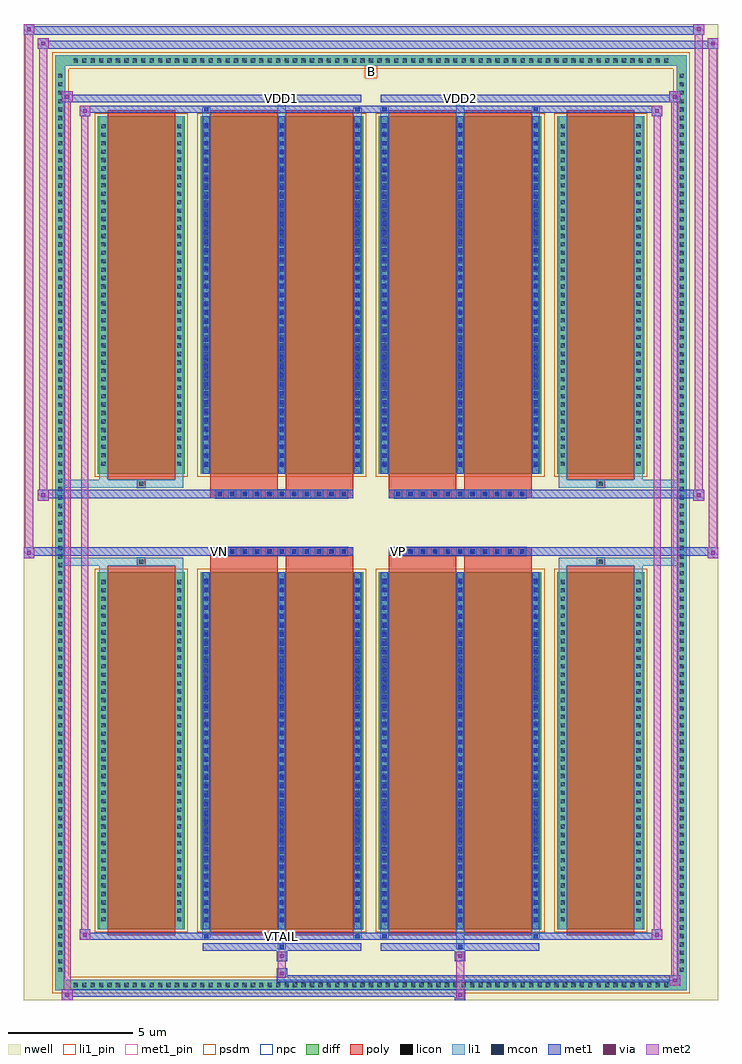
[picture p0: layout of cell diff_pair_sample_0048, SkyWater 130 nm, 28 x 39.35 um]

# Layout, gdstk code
import gdstk
lib = gdstk.Library(unit=1e-6, precision=5e-09)
def R(c, l, rs):  # rectangles x0, y0, x1, y1
    for r in rs: c.add(gdstk.rectangle(r[:2], r[2:], *l))
def A(c, l, x, y, w, h, nx, ny, dx, dy):  # array of equal rectangles
    R(c, l, [(x+i*dx, y+j*dy, x+i*dx+w, y+j*dy+h) for i in range(nx) for j in range(ny)])
def P(c, l, *ps):  # polygons
    for p in ps: c.add(gdstk.Polygon(p, *l))
nwell = (64, 20)
diff = (65, 20)
poly = (66, 20)
licon = (66, 44)
li1_pin = (67, 16)
li1 = (67, 20)
mcon = (67, 44)
met1_pin = (68, 16)
met1 = (68, 20)
via = (68, 44)
met2 = (69, 20)
psdm = (94, 20)
npc = (95, 20)

diff_pair_sample_0048 = lib.new_cell('diff_pair_sample_0048')
R(diff_pair_sample_0048, nwell, [(-14,-19.24,14,20.11), (-11.32,-17.43,-0.01,-0.795), (0.01,-17.43,11.32,-0.795), (-11.32,0.795,-0.01,17.43), (0.01,0.795,11.32,17.43)])
A(diff_pair_sample_0048, diff, -12.105, -18.84, 0.41, 0.41, 71, 2, 0.34, 37.27)
A(diff_pair_sample_0048, diff, -12.73, -18.225, 0.41, 0.41, 1, 107, 0, 0.34)
A(diff_pair_sample_0048, diff, 12.32, -18.225, 0.41, 0.41, 1, 107, 0, 0.34)
R(diff_pair_sample_0048, diff, [(-12.105,-18.84,12.105,-18.43), (-12.73,-18.225,-12.32,18.225), (12.32,-18.225,12.73,18.225), (-11.01,-16.385,-7.51,-1.985), (-6.87,-16.385,-0.32,-1.985), (0.32,-16.385,6.87,-1.985), (7.51,-16.385,11.01,-1.985), (-11.01,1.985,-7.51,16.385), (-6.87,1.985,-0.32,16.385), (0.32,1.985,6.87,16.385), (7.51,1.985,11.01,16.385), (-12.105,18.43,12.105,18.84)])
P(diff_pair_sample_0048, diff, [(12.73,18.84),(-12.73,18.84),(-12.73,-18.43),(-12.32,-18.43),(-12.32,18.43),(12.32,18.43),(12.32,-18.43),(-12.32,-18.43),(-12.73,-18.43),(-12.73,-18.84),(12.73,-18.84)])
A(diff_pair_sample_0048, poly, -6.26, -1.325, 0.33, 0.33, 11, 2, 0.5, 2.32)
A(diff_pair_sample_0048, poly, 0.93, -1.325, 0.33, 0.33, 11, 2, 0.5, 2.32)
R(diff_pair_sample_0048, poly, [(-10.62,-16.635,-7.9,-1.735), (-6.48,-16.635,-3.76,-1.735), (-3.43,-16.635,-0.71,-1.735), (0.71,-16.635,3.43,-1.735), (3.76,-16.635,6.48,-1.735), (7.9,-16.635,10.62,-1.735), (-9.425,-1.735,-9.095,-1.405), (-9.425,-1.735,-9.095,-1.405), (-6.48,-1.735,-3.76,-1.325), (-3.43,-1.735,-0.71,-1.325), (0.71,-1.735,3.43,-1.325), (3.76,-1.735,6.48,-1.325), (9.095,-1.735,9.425,-1.405), (9.095,-1.735,9.425,-1.405), (-6.48,-1.325,-0.71,-0.995), (0.71,-1.325,6.48,-0.995), (-6.48,0.995,-0.71,1.325), (0.71,0.995,6.48,1.325), (-6.48,1.325,-3.76,1.735), (-3.43,1.325,-0.71,1.735), (0.71,1.325,3.43,1.735), (3.76,1.325,6.48,1.735), (-9.425,1.405,-9.095,1.735), (-9.425,1.405,-9.095,1.735), (9.095,1.405,9.425,1.735), (9.095,1.405,9.425,1.735), (-10.62,1.735,-7.9,16.635), (-6.48,1.735,-3.76,16.635), (-3.43,1.735,-0.71,16.635), (0.71,1.735,3.43,16.635), (3.76,1.735,6.48,16.635), (7.9,1.735,10.62,16.635)])
A(diff_pair_sample_0048, licon, -11.985, -18.72, 0.17, 0.17, 71, 2, 0.34, 37.27)
A(diff_pair_sample_0048, licon, -12.61, -18.105, 0.17, 0.17, 1, 107, 0, 0.34)
A(diff_pair_sample_0048, licon, 12.44, -18.105, 0.17, 0.17, 1, 107, 0, 0.34)
A(diff_pair_sample_0048, licon, -10.87, -16.07, 0.17, 0.17, 1, 41, 0, 0.34)
A(diff_pair_sample_0048, licon, -7.82, -16.07, 0.17, 0.17, 1, 41, 0, 0.34)
A(diff_pair_sample_0048, licon, -6.73, -16.07, 0.17, 0.17, 3, 41, 3.05, 0.34)
A(diff_pair_sample_0048, licon, 0.46, -16.07, 0.17, 0.17, 3, 41, 3.05, 0.34)
A(diff_pair_sample_0048, licon, 7.65, -16.07, 0.17, 0.17, 1, 41, 0, 0.34)
A(diff_pair_sample_0048, licon, 10.7, -16.07, 0.17, 0.17, 1, 41, 0, 0.34)
A(diff_pair_sample_0048, licon, -6.18, -1.245, 0.17, 0.17, 11, 2, 0.5, 2.32)
A(diff_pair_sample_0048, licon, 1.01, -1.245, 0.17, 0.17, 11, 2, 0.5, 2.32)
A(diff_pair_sample_0048, licon, -10.87, 2.3, 0.17, 0.17, 1, 41, 0, 0.34)
A(diff_pair_sample_0048, licon, -7.82, 2.3, 0.17, 0.17, 1, 41, 0, 0.34)
A(diff_pair_sample_0048, licon, -6.73, 2.3, 0.17, 0.17, 3, 41, 3.05, 0.34)
A(diff_pair_sample_0048, licon, 0.46, 2.3, 0.17, 0.17, 3, 41, 3.05, 0.34)
A(diff_pair_sample_0048, licon, 7.65, 2.3, 0.17, 0.17, 1, 41, 0, 0.34)
A(diff_pair_sample_0048, licon, 10.7, 2.3, 0.17, 0.17, 1, 41, 0, 0.34)
R(diff_pair_sample_0048, licon, [(-9.345,-1.655,-9.175,-1.485), (9.175,-1.655,9.345,-1.485), (-9.345,1.485,-9.175,1.655), (9.175,1.485,9.345,1.655)])
R(diff_pair_sample_0048, li1_pin, [(-0.25,17.93,0.25,18.43)])
A(diff_pair_sample_0048, li1, -12.065, -18.8, 0.33, 0.33, 71, 2, 0.34, 37.27)
A(diff_pair_sample_0048, li1, -12.69, -18.185, 0.33, 0.33, 1, 107, 0, 0.34)
A(diff_pair_sample_0048, li1, 12.36, -18.185, 0.33, 0.33, 1, 107, 0, 0.34)
A(diff_pair_sample_0048, li1, -6.81, -16.385, 0.33, 14.4, 3, 2, 3.05, 18.37)
A(diff_pair_sample_0048, li1, 0.38, -16.385, 0.33, 14.4, 3, 2, 3.05, 18.37)
A(diff_pair_sample_0048, li1, -10.95, -16.15, 0.33, 0.33, 1, 41, 0, 0.34)
A(diff_pair_sample_0048, li1, -7.9, -16.15, 0.33, 0.33, 1, 41, 0, 0.34)
A(diff_pair_sample_0048, li1, -6.81, -16.15, 0.33, 0.33, 3, 41, 3.05, 0.34)
A(diff_pair_sample_0048, li1, 0.38, -16.15, 0.33, 0.33, 3, 41, 3.05, 0.34)
A(diff_pair_sample_0048, li1, 7.57, -16.15, 0.33, 0.33, 1, 41, 0, 0.34)
A(diff_pair_sample_0048, li1, 10.62, -16.15, 0.33, 0.33, 1, 41, 0, 0.34)
A(diff_pair_sample_0048, li1, -6.73, -16.11, 0.17, 0.17, 3, 39, 3.05, 0.36)
A(diff_pair_sample_0048, li1, -6.73, -16.11, 0.17, 13.85, 3, 2, 3.05, 18.37)
A(diff_pair_sample_0048, li1, 0.46, -16.11, 0.17, 0.17, 3, 39, 3.05, 0.36)
A(diff_pair_sample_0048, li1, 0.46, -16.11, 0.17, 13.85, 3, 2, 3.05, 18.37)
A(diff_pair_sample_0048, li1, -6.26, -1.325, 0.33, 0.33, 11, 2, 0.5, 2.32)
A(diff_pair_sample_0048, li1, 0.93, -1.325, 0.33, 0.33, 11, 2, 0.5, 2.32)
A(diff_pair_sample_0048, li1, -10.95, 2.22, 0.33, 0.33, 1, 41, 0, 0.34)
A(diff_pair_sample_0048, li1, -7.9, 2.22, 0.33, 0.33, 1, 41, 0, 0.34)
A(diff_pair_sample_0048, li1, -6.81, 2.22, 0.33, 0.33, 3, 41, 3.05, 0.34)
A(diff_pair_sample_0048, li1, 0.38, 2.22, 0.33, 0.33, 3, 41, 3.05, 0.34)
A(diff_pair_sample_0048, li1, 7.57, 2.22, 0.33, 0.33, 1, 41, 0, 0.34)
A(diff_pair_sample_0048, li1, 10.62, 2.22, 0.33, 0.33, 1, 41, 0, 0.34)
A(diff_pair_sample_0048, li1, -6.73, 2.26, 0.17, 0.17, 3, 39, 3.05, 0.36)
A(diff_pair_sample_0048, li1, 0.46, 2.26, 0.17, 0.17, 3, 39, 3.05, 0.36)
R(diff_pair_sample_0048, li1, [(-12.73,-18.84,-12.32,-18.43), (-12.73,-18.84,-12.32,-18.43), (-12.32,-18.84,12.32,-18.43), (12.32,-18.84,12.73,-18.43), (12.32,-18.84,12.73,-18.43), (-12.73,-18.43,-12.32,18.43), (12.32,-18.43,12.73,18.43), (-3.76,-17.19,-3.43,-16.385), (-3.68,-17.19,-3.51,-17.02), (3.43,-17.19,3.76,-16.385), (3.51,-17.19,3.68,-17.02), (-6.81,-16.76,-6.48,-16.385), (-6.73,-16.76,-6.56,-16.59), (-0.71,-16.76,-0.38,-16.385), (-0.63,-16.76,-0.46,-16.59), (0.38,-16.76,0.71,-16.385), (0.46,-16.76,0.63,-16.59), (6.48,-16.76,6.81,-16.385), (6.56,-16.76,6.73,-16.59), (-10.95,-16.385,-10.62,-1.985), (-7.9,-16.385,-7.57,-1.985), (7.57,-16.385,7.9,-1.985), (10.62,-16.385,10.95,-1.985), (-10.95,-1.985,-10.62,-1.405), (-7.9,-1.985,-7.57,-1.405), (7.57,-1.985,7.9,-1.405), (10.62,-1.985,10.95,-1.405), (-12.73,-1.735,-9.425,-1.405), (-10.95,-1.735,-9.425,-1.405), (-9.425,-1.735,-9.095,-1.405), (-9.095,-1.735,-7.57,-1.405), (7.57,-1.735,9.095,-1.405), (9.095,-1.735,9.425,-1.405), (9.095,-1.735,12.73,-1.405), (9.425,-1.735,10.95,-1.405), (-12.73,1.405,-9.425,1.735), (-10.95,1.405,-9.425,1.735), (-10.95,1.405,-10.62,1.985), (-9.425,1.405,-9.095,1.735), (-9.095,1.405,-7.57,1.735), (-7.9,1.405,-7.57,1.985), (7.57,1.405,9.095,1.735), (7.57,1.405,7.9,1.985), (9.095,1.405,9.425,1.735), (9.095,1.405,12.73,1.735), (9.425,1.405,10.95,1.735), (10.62,1.405,10.95,1.985), (-10.95,1.985,-10.62,16.385), (-7.9,1.985,-7.57,16.385), (7.57,1.985,7.9,16.385), (10.62,1.985,10.95,16.385), (-6.81,16.385,-6.48,16.76), (-3.76,16.385,-3.43,17.19), (-0.71,16.385,-0.38,16.76), (0.38,16.385,0.71,16.76), (3.43,16.385,3.76,17.19), (6.48,16.385,6.81,16.76), (-6.73,16.59,-6.56,16.76), (-0.63,16.59,-0.46,16.76), (0.46,16.59,0.63,16.76), (6.56,16.59,6.73,16.76), (-3.68,17.02,-3.51,17.19), (3.51,17.02,3.68,17.19), (-12.73,18.43,-12.32,18.84), (-12.73,18.43,-12.32,18.84), (-12.32,18.43,12.32,18.84), (12.32,18.43,12.73,18.84), (12.32,18.43,12.73,18.84)])
A(diff_pair_sample_0048, mcon, -6.73, -16.11, 0.17, 0.17, 3, 39, 3.05, 0.36)
A(diff_pair_sample_0048, mcon, 0.46, -16.11, 0.17, 0.17, 3, 39, 3.05, 0.36)
A(diff_pair_sample_0048, mcon, -6.18, -1.245, 0.17, 0.17, 11, 2, 0.5, 2.32)
A(diff_pair_sample_0048, mcon, 1.01, -1.245, 0.17, 0.17, 11, 2, 0.5, 2.32)
A(diff_pair_sample_0048, mcon, -6.73, 2.26, 0.17, 0.17, 3, 39, 3.05, 0.36)
A(diff_pair_sample_0048, mcon, 0.46, 2.26, 0.17, 0.17, 3, 39, 3.05, 0.36)
R(diff_pair_sample_0048, mcon, [(-3.68,-17.19,-3.51,-17.02), (3.51,-17.19,3.68,-17.02), (-6.73,-16.76,-6.56,-16.59), (-0.63,-16.76,-0.46,-16.59), (0.46,-16.76,0.63,-16.59), (6.56,-16.76,6.73,-16.59), (-6.73,16.59,-6.56,16.76), (-0.63,16.59,-0.46,16.76), (0.46,16.59,0.63,16.76), (6.56,16.59,6.73,16.76), (-3.68,17.02,-3.51,17.19), (3.51,17.02,3.68,17.19)])
R(diff_pair_sample_0048, met1_pin, [(-3.73,-16.8,-3.46,-16.53), (-6.23,-1.285,-5.96,-1.015), (0.96,-1.285,1.23,-1.015), (-3.73,16.98,-3.46,17.25), (3.46,16.98,3.73,17.25)])
A(diff_pair_sample_0048, met1, -6.79, -16.385, 0.29, 14.4, 3, 2, 3.05, 18.37)
A(diff_pair_sample_0048, met1, 0.4, -16.385, 0.29, 14.4, 3, 2, 3.05, 18.37)
A(diff_pair_sample_0048, met1, -6.79, -16.17, 0.29, 0.29, 3, 39, 3.05, 0.36)
A(diff_pair_sample_0048, met1, 0.4, -16.17, 0.29, 0.29, 3, 39, 3.05, 0.36)
A(diff_pair_sample_0048, met1, -6.24, -1.305, 0.29, 0.29, 11, 2, 0.5, 2.32)
A(diff_pair_sample_0048, met1, 0.95, -1.305, 0.29, 0.29, 11, 2, 0.5, 2.32)
A(diff_pair_sample_0048, met1, -6.79, 2.2, 0.29, 0.29, 3, 39, 3.05, 0.36)
A(diff_pair_sample_0048, met1, 0.4, 2.2, 0.29, 0.29, 3, 39, 3.05, 0.36)
R(diff_pair_sample_0048, met1, [(-12.46,-19.24,-12.03,-18.81), (3.38,-19.24,3.81,-18.81), (-12.46,-19.1,3.81,-18.81), (12.03,-18.67,12.46,-18.24), (-3.81,-18.53,12.46,-18.24), (-3.81,-18.39,-3.38,-17.96), (-3.81,-17.68,-3.38,-17.25), (3.38,-17.68,3.81,-17.25), (-6.79,-17.25,-0.4,-16.96), (-3.74,-17.25,-3.45,-16.96), (0.4,-17.25,6.79,-16.96), (3.45,-17.25,3.74,-16.96), (-11.75,-16.82,-11.32,-16.39), (-11.75,-16.82,-6.79,-16.53), (-6.79,-16.82,-6.5,-16.53), (-6.79,-16.82,-0.4,-16.53), (-0.69,-16.82,-0.4,-16.53), (-0.4,-16.82,0.4,-16.53), (0.4,-16.82,0.69,-16.53), (0.4,-16.82,6.79,-16.53), (6.5,-16.82,6.79,-16.53), (6.79,-16.82,11.75,-16.53), (11.32,-16.82,11.75,-16.39), (-14,-1.425,-13.57,-0.995), (13.57,-1.425,14,-0.995), (-14,-1.325,-0.71,-0.995), (-6.48,-1.325,-0.71,-0.995), (0.71,-1.325,6.48,-0.995), (0.71,-1.325,14,-0.995), (-13.43,0.895,-13,1.325), (13,0.895,13.43,1.325), (-13.43,0.995,-6.48,1.325), (-6.48,0.995,-0.71,1.325), (0.71,0.995,6.48,1.325), (6.48,0.995,13.43,1.325), (-11.75,16.39,-11.32,16.82), (11.32,16.39,11.75,16.82), (-11.75,16.53,-6.79,16.82), (-6.79,16.53,-6.5,16.82), (-6.79,16.53,-0.4,16.82), (-0.69,16.53,-0.4,16.82), (-0.4,16.53,0.4,16.82), (0.4,16.53,0.69,16.82), (0.4,16.53,6.79,16.82), (6.5,16.53,6.79,16.82), (6.79,16.53,11.75,16.82), (-12.46,16.96,-12.03,17.39), (-12.46,16.96,-6.79,17.25), (-6.79,16.96,-0.4,17.25), (-3.74,16.96,-3.45,17.25), (0.4,16.96,6.79,17.25), (3.45,16.96,3.74,17.25), (6.79,16.96,12.46,17.25), (12.03,16.96,12.46,17.39), (-13.43,19.11,-13,19.54), (-13.43,19.11,-11.32,19.44), (-11.32,19.11,11.32,19.44), (11.32,19.11,14,19.44), (13.57,19.11,14,19.54), (-14,19.68,-13.57,20.11), (-14,19.68,-11.32,20.01), (-11.32,19.68,11.32,20.01), (11.32,19.68,13.43,20.01), (13,19.68,13.43,20.11)])
R(diff_pair_sample_0048, via, [(-12.32,-19.1,-12.17,-18.95), (3.52,-19.1,3.67,-18.95), (12.17,-18.53,12.32,-18.38), (-3.67,-18.25,-3.52,-18.1), (-3.67,-17.54,-3.52,-17.39), (3.52,-17.54,3.67,-17.39), (-11.61,-16.68,-11.46,-16.53), (11.46,-16.68,11.61,-16.53), (-13.86,-1.285,-13.71,-1.135), (13.71,-1.285,13.86,-1.135), (-13.29,1.035,-13.14,1.185), (13.14,1.035,13.29,1.185), (-11.61,16.53,-11.46,16.68), (11.46,16.53,11.61,16.68), (-12.32,17.1,-12.17,17.25), (12.17,17.1,12.32,17.25), (-13.29,19.25,-13.14,19.4), (13.71,19.25,13.86,19.4), (-13.86,19.82,-13.71,19.97), (13.14,19.82,13.29,19.97)])
R(diff_pair_sample_0048, met2, [(-12.46,-19.24,-12.03,-18.81), (-12.39,-19.24,-12.1,17.39), (-12.1,-19.24,-12.03,-18.81), (-12.41,-19.19,-12.08,-18.86), (3.43,-19.19,3.76,-18.86), (3.43,-18.86,3.76,-17.63), (12.03,-18.67,12.46,-18.24), (12.1,-18.67,12.39,17.39), (12.39,-18.67,12.46,-18.24), (12.08,-18.62,12.41,-18.29), (-3.76,-18.34,-3.43,-18.01), (-3.76,-18.01,-3.43,-17.63), (-3.76,-17.63,-3.43,-17.3), (3.43,-17.63,3.76,-17.3), (-11.75,-16.82,-11.32,-16.39), (-11.68,-16.82,-11.39,16.82), (-11.39,-16.82,-11.32,-16.39), (11.32,-16.82,11.75,-16.39), (11.39,-16.82,11.68,16.82), (11.68,-16.82,11.75,-16.39), (-11.7,-16.77,-11.37,-16.44), (11.37,-16.77,11.7,-16.44), (-14,-1.425,-13.57,-0.995), (-13.95,-1.425,-13.62,20.11), (-13.62,-1.425,-13.57,-0.995), (13.57,-1.425,14,-0.995), (13.62,-1.425,13.95,19.54), (13.95,-1.425,14,-0.995), (-13.95,-1.375,-13.62,-1.045), (13.62,-1.375,13.95,-1.045), (-13.43,0.895,-13,1.325), (-13.38,0.895,-13.05,19.54), (-13.05,0.895,-13,1.325), (13,0.895,13.43,1.325), (13.05,0.895,13.38,20.11), (13.38,0.895,13.43,1.325), (-13.38,0.945,-13.05,1.275), (13.05,0.945,13.38,1.275), (-11.75,16.39,-11.32,16.82), (-11.39,16.39,-11.32,16.82), (11.32,16.39,11.75,16.82), (11.68,16.39,11.75,16.82), (-11.7,16.44,-11.37,16.77), (11.37,16.44,11.7,16.77), (-12.46,16.96,-12.03,17.39), (-12.1,16.96,-12.03,17.39), (12.03,16.96,12.46,17.39), (12.39,16.96,12.46,17.39), (-12.41,17.01,-12.08,17.34), (12.08,17.01,12.41,17.34), (-13.43,19.11,-13,19.54), (-13.05,19.11,-13,19.54), (13.57,19.11,14,19.54), (13.95,19.11,14,19.54), (-13.38,19.16,-13.05,19.49), (13.62,19.16,13.95,19.49), (-14,19.68,-13.57,20.11), (-13.62,19.68,-13.57,20.11), (13,19.68,13.43,20.11), (13.38,19.68,13.43,20.11), (-13.95,19.73,-13.62,20.06), (13.05,19.73,13.38,20.06)])
R(diff_pair_sample_0048, psdm, [(-11.14,-16.515,-7.38,-1.855), (-7,-16.515,-0.19,-1.855), (0.19,-16.515,7,-1.855), (7.38,-16.515,11.14,-1.855), (-11.14,1.855,-7.38,16.515), (-7,1.855,-0.19,16.515), (0.19,1.855,7,16.515), (7.38,1.855,11.14,16.515)])
P(diff_pair_sample_0048, psdm, [(12.86,18.97),(-12.86,18.97),(-12.86,-18.3),(-12.19,-18.3),(-12.19,18.3),(12.19,18.3),(12.19,-18.3),(-12.19,-18.3),(-12.86,-18.3),(-12.86,-18.97),(12.86,-18.97)])
A(diff_pair_sample_0048, npc, -6.28, -1.345, 0.37, 0.37, 11, 2, 0.5, 2.32)
A(diff_pair_sample_0048, npc, 0.91, -1.345, 0.37, 0.37, 11, 2, 0.5, 2.32)
R(diff_pair_sample_0048, npc, [(-9.445,-1.755,-9.075,-1.385), (9.075,-1.755,9.445,-1.385), (-6.28,-1.345,-5.41,-0.975), (-6.28,-1.345,-5.41,-0.975), (-5.78,-1.345,-4.91,-0.975), (-5.78,-1.345,-4.91,-0.975), (-5.28,-1.345,-4.41,-0.975), (-5.28,-1.345,-4.41,-0.975), (-4.78,-1.345,-3.91,-0.975), (-4.78,-1.345,-3.91,-0.975), (-4.28,-1.345,-3.41,-0.975), (-4.28,-1.345,-3.41,-0.975), (-3.78,-1.345,-2.91,-0.975), (-3.78,-1.345,-2.91,-0.975), (-3.28,-1.345,-2.41,-0.975), (-3.28,-1.345,-2.41,-0.975), (-2.78,-1.345,-1.91,-0.975), (-2.78,-1.345,-1.91,-0.975), (-2.28,-1.345,-1.41,-0.975), (-2.28,-1.345,-1.41,-0.975), (-1.78,-1.345,-0.91,-0.975), (-1.78,-1.345,-0.91,-0.975), (0.91,-1.345,1.78,-0.975), (0.91,-1.345,1.78,-0.975), (1.41,-1.345,2.28,-0.975), (1.41,-1.345,2.28,-0.975), (1.91,-1.345,2.78,-0.975), (1.91,-1.345,2.78,-0.975), (2.41,-1.345,3.28,-0.975), (2.41,-1.345,3.28,-0.975), (2.91,-1.345,3.78,-0.975), (2.91,-1.345,3.78,-0.975), (3.41,-1.345,4.28,-0.975), (3.41,-1.345,4.28,-0.975), (3.91,-1.345,4.78,-0.975), (3.91,-1.345,4.78,-0.975), (4.41,-1.345,5.28,-0.975), (4.41,-1.345,5.28,-0.975), (4.91,-1.345,5.78,-0.975), (4.91,-1.345,5.78,-0.975), (5.41,-1.345,6.28,-0.975), (5.41,-1.345,6.28,-0.975), (-6.28,0.975,-5.41,1.345), (-6.28,0.975,-5.41,1.345), (-5.78,0.975,-4.91,1.345), (-5.78,0.975,-4.91,1.345), (-5.28,0.975,-4.41,1.345), (-5.28,0.975,-4.41,1.345), (-4.78,0.975,-3.91,1.345), (-4.78,0.975,-3.91,1.345), (-4.28,0.975,-3.41,1.345), (-4.28,0.975,-3.41,1.345), (-3.78,0.975,-2.91,1.345), (-3.78,0.975,-2.91,1.345), (-3.28,0.975,-2.41,1.345), (-3.28,0.975,-2.41,1.345), (-2.78,0.975,-1.91,1.345), (-2.78,0.975,-1.91,1.345), (-2.28,0.975,-1.41,1.345), (-2.28,0.975,-1.41,1.345), (-1.78,0.975,-0.91,1.345), (-1.78,0.975,-0.91,1.345), (0.91,0.975,1.78,1.345), (0.91,0.975,1.78,1.345), (1.41,0.975,2.28,1.345), (1.41,0.975,2.28,1.345), (1.91,0.975,2.78,1.345), (1.91,0.975,2.78,1.345), (2.41,0.975,3.28,1.345), (2.41,0.975,3.28,1.345), (2.91,0.975,3.78,1.345), (2.91,0.975,3.78,1.345), (3.41,0.975,4.28,1.345), (3.41,0.975,4.28,1.345), (3.91,0.975,4.78,1.345), (3.91,0.975,4.78,1.345), (4.41,0.975,5.28,1.345), (4.41,0.975,5.28,1.345), (4.91,0.975,5.78,1.345), (4.91,0.975,5.78,1.345), (5.41,0.975,6.28,1.345), (5.41,0.975,6.28,1.345), (-9.445,1.385,-9.075,1.755), (9.075,1.385,9.445,1.755)])
diff_pair_sample_0048.add(gdstk.Label('VTAIL', (-3.595,-16.665), layer=68, texttype=5))
diff_pair_sample_0048.add(gdstk.Label('VN', (-6.095,-1.15), layer=68, texttype=5))
diff_pair_sample_0048.add(gdstk.Label('VP', (1.095,-1.15), layer=68, texttype=5))
diff_pair_sample_0048.add(gdstk.Label('B', (0,18.18), layer=67, texttype=5))
diff_pair_sample_0048.add(gdstk.Label('VDD2', (3.595,17.115), layer=68, texttype=5))
diff_pair_sample_0048.add(gdstk.Label('VDD1', (-3.595,17.115), layer=68, texttype=5))

lib.write_gds('diff_pair_sample_0048.gds')
